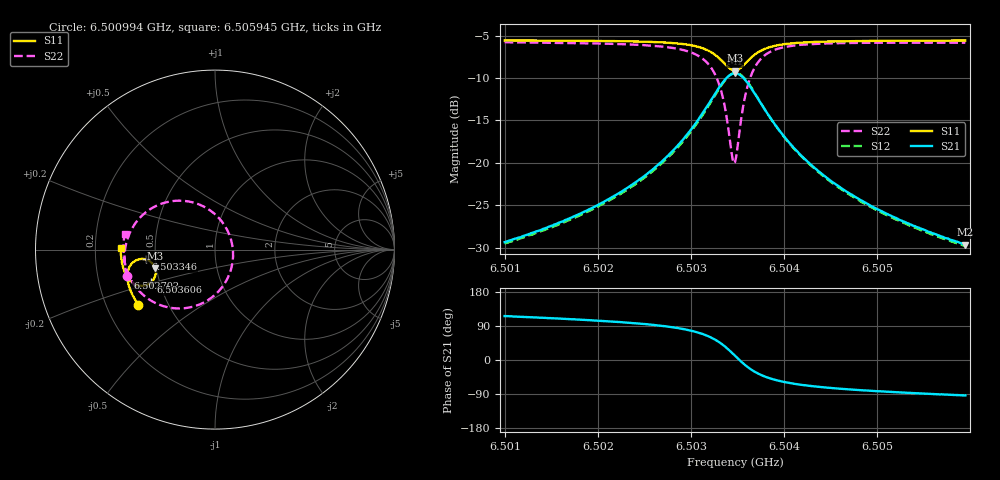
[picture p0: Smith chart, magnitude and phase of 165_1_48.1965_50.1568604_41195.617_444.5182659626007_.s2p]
#  HZ  S  RI  R  50.00
! Rohde & Schwarz Vector Network Analyzer
! Rohde-Schwarz,ZNB20-2Port,1311601062101988,3.16
! Created: UTC 3/20/2024, 11:43:23 AM
! freq[Hz]  re:S11  im:S11  re:S21  im:S21  re:S12  im:S12  re:S22  im:S22
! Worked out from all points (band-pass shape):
!   401 points, 6.500994 GHz to 6.505945 GHz, reference 50 ohm
!   highest |S21| = -9.45 dB at 6.50347 GHz (marker M1); lowest = -29.6 dB at 6.505945 GHz (marker M2)
!   |S21| within 3 dB of the highest: 6.503221 GHz to 6.503717 GHz (495.2 kHz wide, 0.00761 % of centre)
!   lowest |S11| = -9.1 dB at 6.50347 GHz (marker M3), VSWR 2.08, Z = 24.5 - j5.86 ohm
!   |S11| at or under -10 dB: nowhere
!   |S22| runs from -20.1 to -5.8 dB; largest |S21 - S12| = 0.012
!   S11 on the Smith chart (normalised r, x): 6.500994 GHz: 0.34, -0.29; 6.502702 GHz: 0.33, -0.14; 6.503346 GHz: 0.44, -0.06; 6.503606 GHz: 0.45, -0.19; 6.505945 GHz: 0.31, +0.01
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6.5009944e9  -0.4282 -0.3063  -0.0149 0.0307  -0.0132 0.0307  -0.4916 -0.1495
6.5018236e9  -0.4635 -0.2446  -0.0141 0.0487  -0.0118 0.0483  -0.504 -0.0604
6.5022815e9  -0.4795 -0.2036  -0.011 0.0684  -0.00805 0.0673  -0.5002 0.00556
6.5026528e9  -0.4879 -0.1622  -0.00168 0.0985  0.00189 0.096  -0.4796 0.0814
6.5027023e9  -0.4884 -0.1554  0.00071 0.104  0.00454 0.1015  -0.4742 0.094
6.5029374e9  -0.4851 -0.1186  0.0234 0.1409  0.0272 0.1366  -0.4267 0.1681
6.5030983e9  -0.4706 -0.0866  0.0626 0.1768  0.0655 0.171  -0.3503 0.2317
6.5032468e9  -0.433 -0.057  0.1441 0.2056  0.1449 0.199  -0.2018 0.2726
6.5033458e9  -0.3868 -0.0541  0.2351 0.1889  0.2353 0.1839  -0.0439 0.2294
6.5034324e9  -0.3444 -0.083  0.3129 0.1143  0.3153 0.1097  0.0801 0.0825
6.5034572e9  -0.3364 -0.0972  0.3262 0.0827  0.3293 0.0773  0.0967 0.0226
6.5034696e9  -0.3336 -0.1049  0.3305 0.0657  0.3339 0.0599  0.1004 -0.00868
6.5034943e9  -0.3307 -0.1211  0.3337 0.0313  0.3374 0.0242  0.0977 -0.0717
6.5035314e9  -0.333 -0.1449  0.3262 -0.0186  0.3295 -0.0276  0.07 -0.1601
6.5036057e9  -0.3552 -0.1815  0.2797 -0.0944  0.2795 -0.1058  -0.0397 -0.2818
6.5037171e9  -0.4004 -0.2013  0.1934 -0.1394  0.188 -0.1489  -0.215 -0.3276
6.5038779e9  -0.4474 -0.1916  0.1103 -0.1355  0.103 -0.1406  -0.365 -0.2791
6.5040512e9  -0.4751 -0.1703  0.0649 -0.1147  0.0585 -0.1169  -0.438 -0.2127
6.5042987e9  -0.4959 -0.1404  0.0344 -0.0897  0.0296 -0.0901  -0.4818 -0.1393
6.50467e9  -0.5115 -0.1013  0.0151 -0.0659  0.0118 -0.0655  -0.5045 -0.0638
6.5051279e9  -0.5209 -0.0587  0.00521 -0.049  0.0028 -0.0483  -0.5107 0.00195
6.5059447e9  -0.5259 0.0107  -0.00198 -0.0329  -0.00336 -0.0321  -0.503 0.0894
